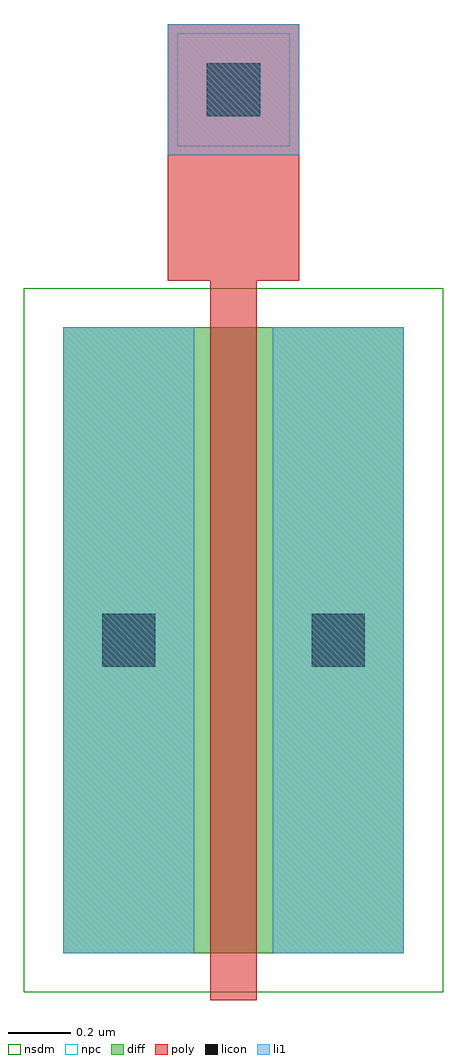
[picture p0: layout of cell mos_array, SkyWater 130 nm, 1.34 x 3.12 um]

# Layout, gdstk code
import gdstk
lib = gdstk.Library(unit=1e-6, precision=1e-09)
def R(c, l, rs):  # rectangles x0, y0, x1, y1
    for r in rs: c.add(gdstk.rectangle(r[:2], r[2:], *l))
diff = (65, 20)
poly = (66, 20)
licon = (66, 44)
li1 = (67, 20)
nsdm = (93, 44)
npc = (95, 20)

mos_array = lib.new_cell('mos_array')
R(mos_array, diff, [(0,0,1.09,2)])
R(mos_array, poly, [(0.47,-0.15,0.62,2), (0.47,2,0.62,2.15), (0.47,2,0.62,2.15), (0.335,2.15,0.755,2.97)])
R(mos_array, licon, [(0.125,0.915,0.295,1.085), (0.795,0.915,0.965,1.085), (0.46,2.675,0.63,2.845)])
R(mos_array, li1, [(0,0,0.42,2), (0.67,0,1.09,2), (0.335,2.55,0.755,2.97)])
R(mos_array, nsdm, [(-0.125,-0.125,1.215,2.125)])
R(mos_array, npc, [(0.365,2.58,0.725,2.94)])

lib.write_gds('mos_array.gds')
